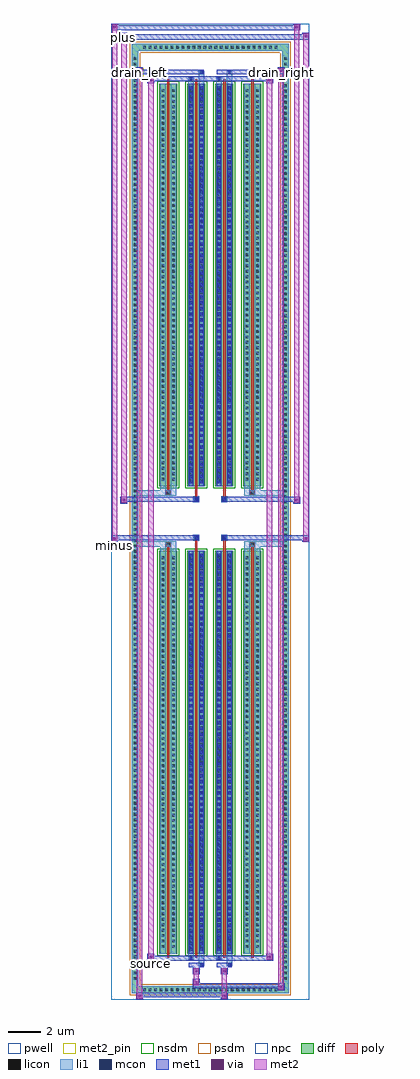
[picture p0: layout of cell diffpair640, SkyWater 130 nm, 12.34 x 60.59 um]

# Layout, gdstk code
import gdstk
lib = gdstk.Library(unit=1e-6, precision=5e-09)
def R(c, l, rs):  # rectangles x0, y0, x1, y1
    for r in rs: c.add(gdstk.rectangle(r[:2], r[2:], *l))
def A(c, l, x, y, w, h, nx, ny, dx, dy):  # array of equal rectangles
    R(c, l, [(x+i*dx, y+j*dy, x+i*dx+w, y+j*dy+h) for i in range(nx) for j in range(ny)])
def P(c, l, *ps):  # polygons
    for p in ps: c.add(gdstk.Polygon(p, *l))
pwell = (64, 44)
diff = (65, 20)
poly = (66, 20)
licon = (66, 44)
li1 = (67, 20)
mcon = (67, 44)
met1 = (68, 20)
via = (68, 44)
met2_pin = (69, 16)
met2 = (69, 20)
nsdm = (93, 44)
psdm = (94, 20)
npc = (95, 20)

diffpair640 = lib.new_cell('diffpair640')
R(diffpair640, pwell, [(-6.15,-29.86,6.15,30.73), (-3.47,-28.05,-0.01,-0.825), (0.01,-28.05,3.47,-0.825), (-3.47,0.825,-0.01,28.05), (0.01,0.825,3.47,28.05)])
A(diffpair640, diff, -4.285, -29.46, 0.41, 0.41, 25, 2, 0.34, 58.51)
A(diffpair640, diff, -4.88, -28.765, 0.41, 0.41, 1, 169, 0, 0.34)
A(diffpair640, diff, 4.47, -28.765, 0.41, 0.41, 1, 169, 0, 0.34)
A(diffpair640, diff, -3.16, -27.005, 1.1, 25, 4, 2, 1.74, 29.01)
R(diffpair640, diff, [(-4.285,-29.46,4.285,-29.05), (-4.88,-28.765,-4.47,28.765), (4.47,-28.765,4.88,28.765), (-4.285,29.05,4.285,29.46)])
P(diffpair640, diff, [(4.88,29.46),(-4.88,29.46),(-4.88,-29.05),(-4.47,-29.05),(-4.47,29.05),(4.47,29.05),(4.47,-29.05),(-4.47,-29.05),(-4.88,-29.05),(-4.88,-29.46),(4.88,-29.46)])
A(diffpair640, poly, -2.685, -27.255, 0.15, 25.5, 4, 2, 1.74, 29.01)
R(diffpair640, poly, [(-2.775,-1.755,-2.445,-1.425), (-2.775,-1.755,-2.445,-1.425), (-0.945,-1.755,-0.795,-1.355), (0.795,-1.755,0.945,-1.355), (2.445,-1.755,2.775,-1.425), (2.445,-1.755,2.775,-1.425), (-1.035,-1.355,-0.705,-1.025), (-1.035,-1.355,-0.705,-1.025), (0.705,-1.355,1.035,-1.025), (0.705,-1.355,1.035,-1.025), (-1.035,1.025,-0.705,1.355), (-1.035,1.025,-0.705,1.355), (0.705,1.025,1.035,1.355), (0.705,1.025,1.035,1.355), (-0.945,1.355,-0.795,1.755), (0.795,1.355,0.945,1.755), (-2.775,1.425,-2.445,1.755), (-2.775,1.425,-2.445,1.755), (2.445,1.425,2.775,1.755), (2.445,1.425,2.775,1.755)])
A(diffpair640, licon, -4.165, -29.34, 0.17, 0.17, 25, 2, 0.34, 58.51)
A(diffpair640, licon, -4.76, -28.645, 0.17, 0.17, 1, 169, 0, 0.34)
A(diffpair640, licon, 4.59, -28.645, 0.17, 0.17, 1, 169, 0, 0.34)
A(diffpair640, licon, -3.02, -26.66, 0.17, 0.17, 1, 72, 0, 0.34)
A(diffpair640, licon, -2.37, -26.66, 0.17, 0.17, 1, 72, 0, 0.34)
A(diffpair640, licon, -1.28, -26.66, 0.17, 0.17, 1, 72, 0, 0.34)
A(diffpair640, licon, -0.63, -26.66, 0.17, 0.17, 1, 72, 0, 0.34)
A(diffpair640, licon, 0.46, -26.66, 0.17, 0.17, 1, 72, 0, 0.34)
A(diffpair640, licon, 1.11, -26.66, 0.17, 0.17, 1, 72, 0, 0.34)
A(diffpair640, licon, 2.2, -26.66, 0.17, 0.17, 1, 72, 0, 0.34)
A(diffpair640, licon, 2.85, -26.66, 0.17, 0.17, 1, 72, 0, 0.34)
A(diffpair640, licon, -3.02, 2.35, 0.17, 0.17, 1, 72, 0, 0.34)
A(diffpair640, licon, -2.37, 2.35, 0.17, 0.17, 1, 72, 0, 0.34)
A(diffpair640, licon, -1.28, 2.35, 0.17, 0.17, 1, 72, 0, 0.34)
A(diffpair640, licon, -0.63, 2.35, 0.17, 0.17, 1, 72, 0, 0.34)
A(diffpair640, licon, 0.46, 2.35, 0.17, 0.17, 1, 72, 0, 0.34)
A(diffpair640, licon, 1.11, 2.35, 0.17, 0.17, 1, 72, 0, 0.34)
A(diffpair640, licon, 2.2, 2.35, 0.17, 0.17, 1, 72, 0, 0.34)
A(diffpair640, licon, 2.85, 2.35, 0.17, 0.17, 1, 72, 0, 0.34)
R(diffpair640, licon, [(-2.695,-1.675,-2.525,-1.505), (2.525,-1.675,2.695,-1.505), (-0.955,-1.275,-0.785,-1.105), (0.785,-1.275,0.955,-1.105), (-0.955,1.105,-0.785,1.275), (0.785,1.105,0.955,1.275), (-2.695,1.505,-2.525,1.675), (2.525,1.505,2.695,1.675)])
A(diffpair640, li1, -4.245, -29.42, 0.33, 0.33, 25, 2, 0.34, 58.51)
A(diffpair640, li1, -4.84, -28.725, 0.33, 0.33, 1, 169, 0, 0.34)
A(diffpair640, li1, 4.51, -28.725, 0.33, 0.33, 1, 169, 0, 0.34)
A(diffpair640, li1, -1.28, -26.83, 0.17, 0.17, 1, 69, 0, 0.36)
A(diffpair640, li1, -0.63, -26.83, 0.17, 0.17, 1, 69, 0, 0.36)
A(diffpair640, li1, 0.46, -26.83, 0.17, 0.17, 1, 69, 0, 0.36)
A(diffpair640, li1, 1.11, -26.83, 0.17, 0.17, 1, 69, 0, 0.36)
A(diffpair640, li1, -3.1, -26.74, 0.33, 0.33, 1, 72, 0, 0.34)
A(diffpair640, li1, -2.45, -26.74, 0.33, 0.33, 1, 72, 0, 0.34)
A(diffpair640, li1, -1.36, -26.74, 0.33, 0.33, 1, 72, 0, 0.34)
A(diffpair640, li1, -0.71, -26.74, 0.33, 0.33, 1, 72, 0, 0.34)
A(diffpair640, li1, 0.38, -26.74, 0.33, 0.33, 1, 72, 0, 0.34)
A(diffpair640, li1, 1.03, -26.74, 0.33, 0.33, 1, 72, 0, 0.34)
A(diffpair640, li1, 2.12, -26.74, 0.33, 0.33, 1, 72, 0, 0.34)
A(diffpair640, li1, 2.77, -26.74, 0.33, 0.33, 1, 72, 0, 0.34)
A(diffpair640, li1, -1.28, 2.18, 0.17, 0.17, 1, 69, 0, 0.36)
A(diffpair640, li1, -0.63, 2.18, 0.17, 0.17, 1, 69, 0, 0.36)
A(diffpair640, li1, 0.46, 2.18, 0.17, 0.17, 1, 69, 0, 0.36)
A(diffpair640, li1, 1.11, 2.18, 0.17, 0.17, 1, 69, 0, 0.36)
A(diffpair640, li1, -3.1, 2.27, 0.33, 0.33, 1, 72, 0, 0.34)
A(diffpair640, li1, -2.45, 2.27, 0.33, 0.33, 1, 72, 0, 0.34)
A(diffpair640, li1, -1.36, 2.27, 0.33, 0.33, 1, 72, 0, 0.34)
A(diffpair640, li1, -0.71, 2.27, 0.33, 0.33, 1, 72, 0, 0.34)
A(diffpair640, li1, 0.38, 2.27, 0.33, 0.33, 1, 72, 0, 0.34)
A(diffpair640, li1, 1.03, 2.27, 0.33, 0.33, 1, 72, 0, 0.34)
A(diffpair640, li1, 2.12, 2.27, 0.33, 0.33, 1, 72, 0, 0.34)
A(diffpair640, li1, 2.77, 2.27, 0.33, 0.33, 1, 72, 0, 0.34)
R(diffpair640, li1, [(-4.88,-29.46,-4.47,-29.05), (-4.88,-29.46,-4.47,-29.05), (-4.47,-29.46,4.47,-29.05), (4.47,-29.46,4.88,-29.05), (4.47,-29.46,4.88,-29.05), (-4.88,-29.05,-4.47,29.05), (4.47,-29.05,4.88,29.05), (-0.71,-27.81,-0.38,-27.005), (-0.63,-27.81,-0.46,-27.64), (1.03,-27.81,1.36,-27.005), (1.11,-27.81,1.28,-27.64), (-1.36,-27.38,-1.03,-27.005), (-1.28,-27.38,-1.11,-27.21), (0.38,-27.38,0.71,-27.005), (0.46,-27.38,0.63,-27.21), (-3.1,-27.005,-2.77,-2.005), (-2.45,-27.005,-2.12,-2.005), (-1.36,-27.005,-1.03,-2.005), (-0.71,-27.005,-0.38,-2.005), (0.38,-27.005,0.71,-2.005), (1.03,-27.005,1.36,-2.005), (2.12,-27.005,2.45,-2.005), (2.77,-27.005,3.1,-2.005), (-1.28,-26.83,-1.11,-2.18), (-0.63,-26.83,-0.46,-2.18), (0.46,-26.83,0.63,-2.18), (1.11,-26.83,1.28,-2.18), (-3.1,-2.005,-2.77,-1.425), (-2.45,-2.005,-2.12,-1.425), (2.12,-2.005,2.45,-1.425), (2.77,-2.005,3.1,-1.425), (-4.88,-1.755,-2.775,-1.425), (-3.1,-1.755,-2.775,-1.425), (-2.775,-1.755,-2.445,-1.425), (-2.445,-1.755,-2.12,-1.425), (2.12,-1.755,2.445,-1.425), (2.445,-1.755,2.775,-1.425), (2.445,-1.755,4.88,-1.425), (2.775,-1.755,3.1,-1.425), (-1.035,-1.355,-0.705,-1.025), (0.705,-1.355,1.035,-1.025), (-1.035,1.025,-0.705,1.355), (0.705,1.025,1.035,1.355), (-4.88,1.425,-2.775,1.755), (-3.1,1.425,-2.775,1.755), (-3.1,1.425,-2.77,2.005), (-2.775,1.425,-2.445,1.755), (-2.45,1.425,-2.12,2.005), (-2.445,1.425,-2.12,1.755), (2.12,1.425,2.445,1.755), (2.12,1.425,2.45,2.005), (2.445,1.425,2.775,1.755), (2.445,1.425,4.88,1.755), (2.77,1.425,3.1,2.005), (2.775,1.425,3.1,1.755), (-3.1,2.005,-2.77,27.005), (-2.45,2.005,-2.12,27.005), (-1.36,2.005,-1.03,27.005), (-0.71,2.005,-0.38,27.005), (0.38,2.005,0.71,27.005), (1.03,2.005,1.36,27.005), (2.12,2.005,2.45,27.005), (2.77,2.005,3.1,27.005), (-1.28,2.18,-1.11,26.83), (-0.63,2.18,-0.46,26.83), (0.46,2.18,0.63,26.83), (1.11,2.18,1.28,26.83), (-1.36,27.005,-1.03,27.38), (-0.71,27.005,-0.38,27.81), (0.38,27.005,0.71,27.38), (1.03,27.005,1.36,27.81), (-1.28,27.21,-1.11,27.38), (0.46,27.21,0.63,27.38), (-0.63,27.64,-0.46,27.81), (1.11,27.64,1.28,27.81), (-4.88,29.05,-4.47,29.46), (-4.88,29.05,-4.47,29.46), (-4.47,29.05,4.47,29.46), (4.47,29.05,4.88,29.46), (4.47,29.05,4.88,29.46)])
A(diffpair640, mcon, -1.28, -26.83, 0.17, 0.17, 1, 69, 0, 0.36)
A(diffpair640, mcon, -0.63, -26.83, 0.17, 0.17, 1, 69, 0, 0.36)
A(diffpair640, mcon, 0.46, -26.83, 0.17, 0.17, 1, 69, 0, 0.36)
A(diffpair640, mcon, 1.11, -26.83, 0.17, 0.17, 1, 69, 0, 0.36)
A(diffpair640, mcon, -1.28, 2.18, 0.17, 0.17, 1, 69, 0, 0.36)
A(diffpair640, mcon, -0.63, 2.18, 0.17, 0.17, 1, 69, 0, 0.36)
A(diffpair640, mcon, 0.46, 2.18, 0.17, 0.17, 1, 69, 0, 0.36)
A(diffpair640, mcon, 1.11, 2.18, 0.17, 0.17, 1, 69, 0, 0.36)
R(diffpair640, mcon, [(-0.63,-27.81,-0.46,-27.64), (1.11,-27.81,1.28,-27.64), (-1.28,-27.38,-1.11,-27.21), (0.46,-27.38,0.63,-27.21), (-0.955,-1.275,-0.785,-1.105), (0.785,-1.275,0.955,-1.105), (-0.955,1.105,-0.785,1.275), (0.785,1.105,0.955,1.275), (-1.28,27.21,-1.11,27.38), (0.46,27.21,0.63,27.38), (-0.63,27.64,-0.46,27.81), (1.11,27.64,1.28,27.81)])
A(diffpair640, met1, -1.34, -26.89, 0.29, 0.29, 1, 69, 0, 0.36)
A(diffpair640, met1, -0.69, -26.89, 0.29, 0.29, 1, 69, 0, 0.36)
A(diffpair640, met1, 0.4, -26.89, 0.29, 0.29, 1, 69, 0, 0.36)
A(diffpair640, met1, 1.05, -26.89, 0.29, 0.29, 1, 69, 0, 0.36)
A(diffpair640, met1, -1.34, 2.12, 0.29, 0.29, 1, 69, 0, 0.36)
A(diffpair640, met1, -0.69, 2.12, 0.29, 0.29, 1, 69, 0, 0.36)
A(diffpair640, met1, 0.4, 2.12, 0.29, 0.29, 1, 69, 0, 0.36)
A(diffpair640, met1, 1.05, 2.12, 0.29, 0.29, 1, 69, 0, 0.36)
R(diffpair640, met1, [(-4.61,-29.86,-4.18,-29.43), (0.655,-29.86,1.085,-29.43), (-4.61,-29.72,1.085,-29.43), (4.18,-29.29,4.61,-28.86), (-1.085,-29.15,4.61,-28.86), (-1.085,-29.01,-0.655,-28.58), (-1.085,-28.3,-0.655,-27.87), (0.655,-28.3,1.085,-27.87), (-1.34,-27.87,-0.4,-27.58), (-0.69,-27.87,-0.4,-27.58), (0.4,-27.87,1.34,-27.58), (1.05,-27.87,1.34,-27.58), (-3.9,-27.44,-3.47,-27.01), (-3.9,-27.44,-1.34,-27.15), (-1.34,-27.44,-1.05,-27.15), (-1.34,-27.44,-0.4,-27.15), (-0.4,-27.44,0.4,-27.15), (0.4,-27.44,0.69,-27.15), (0.4,-27.44,1.34,-27.15), (1.34,-27.44,3.9,-27.15), (3.47,-27.44,3.9,-27.01), (-1.34,-27.005,-1.05,-2.005), (-0.69,-27.005,-0.4,-2.005), (0.4,-27.005,0.69,-2.005), (1.05,-27.005,1.34,-2.005), (-6.15,-1.455,-5.72,-1.025), (5.72,-1.455,6.15,-1.025), (-6.15,-1.355,-0.705,-1.025), (-1.035,-1.355,-0.705,-1.025), (0.705,-1.355,1.035,-1.025), (0.705,-1.355,6.15,-1.025), (-1.015,-1.335,-0.725,-1.045), (0.725,-1.335,1.015,-1.045), (-5.58,0.925,-5.15,1.355), (5.15,0.925,5.58,1.355), (-5.58,1.025,-1.035,1.355), (-1.035,1.025,-0.705,1.355), (0.705,1.025,1.035,1.355), (1.035,1.025,5.58,1.355), (-1.015,1.045,-0.725,1.335), (0.725,1.045,1.015,1.335), (-1.34,2.005,-1.05,27.005), (-0.69,2.005,-0.4,27.005), (0.4,2.005,0.69,27.005), (1.05,2.005,1.34,27.005), (-3.9,27.01,-3.47,27.44), (3.47,27.01,3.9,27.44), (-3.9,27.15,-1.34,27.44), (-1.34,27.15,-1.05,27.44), (-1.34,27.15,-0.4,27.44), (-0.4,27.15,0.4,27.44), (0.4,27.15,0.69,27.44), (0.4,27.15,1.34,27.44), (1.34,27.15,3.9,27.44), (-4.61,27.58,-4.18,28.01), (-4.61,27.58,-1.34,27.87), (-1.34,27.58,-0.4,27.87), (-0.69,27.58,-0.4,27.87), (0.4,27.58,1.34,27.87), (1.05,27.58,1.34,27.87), (1.34,27.58,4.61,27.87), (4.18,27.58,4.61,28.01), (-5.58,29.73,-5.15,30.16), (-5.58,29.73,-3.47,30.06), (-3.47,29.73,3.47,30.06), (3.47,29.73,6.15,30.06), (5.72,29.73,6.15,30.16), (-6.15,30.3,-5.72,30.73), (-6.15,30.3,-3.47,30.63), (-3.47,30.3,3.47,30.63), (3.47,30.3,5.58,30.63), (5.15,30.3,5.58,30.73)])
R(diffpair640, via, [(-4.47,-29.72,-4.32,-29.57), (0.795,-29.72,0.945,-29.57), (4.32,-29.15,4.47,-29), (-0.945,-28.87,-0.795,-28.72), (-0.945,-28.16,-0.795,-28.01), (0.795,-28.16,0.945,-28.01), (-3.76,-27.3,-3.61,-27.15), (3.61,-27.3,3.76,-27.15), (-6.01,-1.315,-5.86,-1.165), (5.86,-1.315,6.01,-1.165), (-5.44,1.065,-5.29,1.215), (5.29,1.065,5.44,1.215), (-3.76,27.15,-3.61,27.3), (3.61,27.15,3.76,27.3), (-4.47,27.72,-4.32,27.87), (4.32,27.72,4.47,27.87), (-5.44,29.87,-5.29,30.02), (5.86,29.87,6.01,30.02), (-6.01,30.44,-5.86,30.59), (5.29,30.44,5.44,30.59)])
R(diffpair640, met2_pin, [(-3.935,-27.89,-3.435,-27.39), (-6.185,-1.905,-5.685,-1.405), (-4.645,27.46,-4.145,27.96), (4.145,27.46,4.645,27.96), (-5.615,29.61,-5.115,30.11)])
R(diffpair640, met2, [(-4.56,-29.81,-4.23,-29.48), (-4.56,-29.81,-4.23,27.96), (0.705,-29.81,1.035,-29.48), (0.705,-29.48,1.035,-28.25), (4.23,-29.24,4.56,-28.91), (4.23,-29.24,4.56,27.96), (-1.035,-28.96,-0.705,-28.63), (-1.035,-28.63,-0.705,-28.25), (-1.035,-28.25,-0.705,-27.92), (0.705,-28.25,1.035,-27.92), (-3.85,-27.39,-3.52,-27.06), (-3.85,-27.39,-3.52,27.39), (3.52,-27.39,3.85,-27.06), (3.52,-27.39,3.85,27.39), (-6.1,-1.405,-5.77,-1.075), (-6.1,-1.405,-5.77,30.68), (5.77,-1.405,6.1,-1.075), (5.77,-1.405,6.1,30.11), (-5.53,0.975,-5.2,1.305), (-5.53,0.975,-5.2,30.11), (5.2,0.975,5.53,1.305), (5.2,0.975,5.53,30.68), (-3.85,27.06,-3.52,27.39), (3.52,27.06,3.85,27.39), (-4.56,27.63,-4.23,27.96), (4.23,27.63,4.56,27.96), (-5.53,29.78,-5.2,30.11), (5.77,29.78,6.1,30.11), (-6.1,30.35,-5.77,30.68), (5.2,30.35,5.53,30.68)])
P(diffpair640, met2, [(6.1,-1.405),(6.1,-1.405),(6.1,-1.075),(6.1,-1.075)],
  [(6.1,29.78),(6.1,29.78),(6.1,30.11),(6.1,30.11)],
  [(-5.77,-1.405),(-5.77,-1.405),(-5.77,-1.075),(-5.77,-1.075)],
  [(-5.77,30.35),(-5.77,30.35),(-5.77,30.68),(-5.77,30.68)],
  [(5.53,0.975),(5.53,0.975),(5.53,1.305),(5.53,1.305)],
  [(5.53,30.35),(5.53,30.35),(5.53,30.68),(5.53,30.68)],
  [(-5.2,0.975),(-5.2,0.975),(-5.2,1.305),(-5.2,1.305)],
  [(-5.2,29.78),(-5.2,29.78),(-5.2,30.11),(-5.2,30.11)],
  [(-4.23,-29.81),(-4.23,-29.81),(-4.23,-29.48),(-4.23,-29.48)],
  [(-4.23,27.63),(-4.23,27.63),(-4.23,27.96),(-4.23,27.96)],
  [(4.56,-29.24),(4.56,-29.24),(4.56,-28.91),(4.56,-28.91)],
  [(4.56,27.63),(4.56,27.63),(4.56,27.96),(4.56,27.96)],
  [(-3.52,-27.39),(-3.52,-27.39),(-3.52,-27.06),(-3.52,-27.06)],
  [(-3.52,27.06),(-3.52,27.06),(-3.52,27.39),(-3.52,27.39)],
  [(3.85,-27.39),(3.85,-27.39),(3.85,-27.06),(3.85,-27.06)],
  [(3.85,27.06),(3.85,27.06),(3.85,27.39),(3.85,27.39)])
A(diffpair640, nsdm, -3.29, -27.135, 1.36, 25.26, 4, 2, 1.74, 29.01)
P(diffpair640, psdm, [(5.01,29.59),(-5.01,29.59),(-5.01,-28.92),(-4.34,-28.92),(-4.34,28.92),(4.34,28.92),(4.34,-28.92),(-4.34,-28.92),(-5.01,-28.92),(-5.01,-29.59),(5.01,-29.59)])
R(diffpair640, npc, [(-2.795,-1.775,-2.425,-1.405), (2.425,-1.775,2.795,-1.405), (-1.055,-1.375,-0.685,-1.005), (0.685,-1.375,1.055,-1.005), (-1.055,1.005,-0.685,1.375), (0.685,1.005,1.055,1.375), (-2.795,1.405,-2.425,1.775), (2.425,1.405,2.795,1.775)])
diffpair640.add(gdstk.Label('minus', (-5.935,-1.655), layer=69, texttype=5))
diffpair640.add(gdstk.Label('drain_right', (4.395,27.71), layer=69, texttype=5))
diffpair640.add(gdstk.Label('drain_left', (-4.395,27.71), layer=69, texttype=5))
diffpair640.add(gdstk.Label('source', (-3.685,-27.64), layer=69, texttype=5))
diffpair640.add(gdstk.Label('plus', (-5.365,29.86), layer=69, texttype=5))

lib.write_gds('diffpair640.gds')
